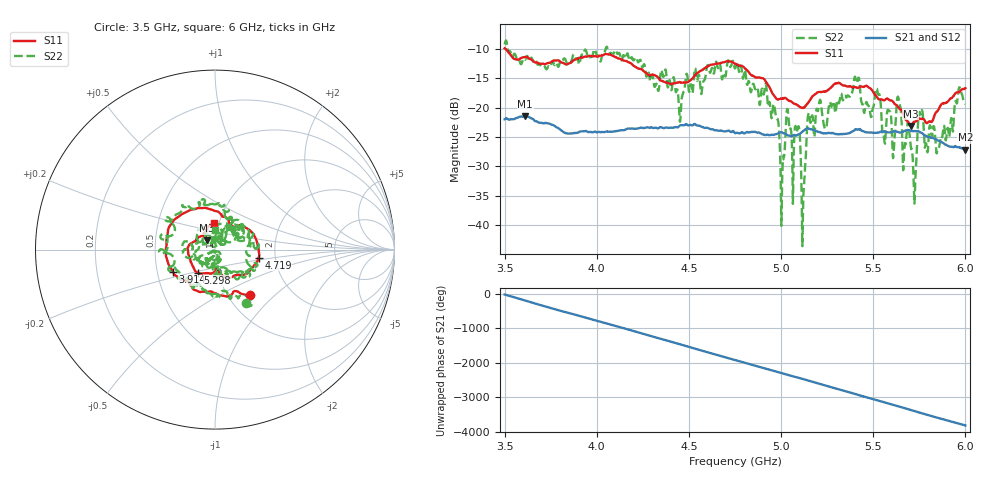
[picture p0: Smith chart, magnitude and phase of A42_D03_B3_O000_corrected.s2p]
! Created with skrf 1.9.0 (http://scikit-rf.org).
# Hz S RI R 50.0
!freq ReS11 ImS11 ReS21 ImS21 ReS12 ImS12 ReS22 ImS22
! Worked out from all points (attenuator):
!   1601 points, 3.5 GHz to 6 GHz, reference 50 ohm
!   highest |S21| = -21.50 dB at 3.611 GHz (marker M1); lowest = -27.1 dB at 6 GHz (marker M2)
!   lowest |S11| = -23.1 dB at 5.703 GHz (marker M3), VSWR 1.15, Z = 45.3 + j4.73 ohm
!   |S11| at or under -10 dB: 3.504 GHz to end of sweep
!   |S22| runs from -43.6 to -8.6 dB; largest |S21 - S12| = 0.001
!   S11 on the Smith chart (normalised r, x): 3.5 GHz: 1.25, -0.71; 3.914 GHz: 0.60, -0.16; 4.719 GHz: 1.63, -0.16; 5.298 GHz: 0.80, -0.22; 6 GHz: 0.95, +0.28
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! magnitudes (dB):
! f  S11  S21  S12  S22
! 3.5 GHz  -9.9  -22.0  -22.0  -9.3
! 3.611 GHz  -11.4  -21.5  -21.5  -11.9
! 3.914 GHz  -11.5  -24.1  -24.0  -11.4
! 3.917 GHz  -11.5  -24.1  -24.0  -11.1
! 4.334 GHz  -15.0  -23.5  -23.5  -17.2
! 4.719 GHz  -12.1  -23.9  -24.0  -12.4
! 4.75 GHz  -12.6  -24.3  -24.3  -13.3
! 4.969 GHz  -18.3  -24.5  -24.5  -20.9
! 5.006 GHz  -18.5  -24.2  -24.2  -31.7
! 5.034 GHz  -18.7  -24.7  -24.6  -20.3
! 5.089 GHz  -19.6  -24.6  -24.6  -23.5
! 5.12 GHz  -20.1  -24.0  -23.9  -35.8
! 5.145 GHz  -19.3  -23.5  -23.5  -21.5
! 5.167 GHz  -18.2  -23.7  -23.7  -21.4
! 5.298 GHz  -15.9  -24.5  -24.5  -20.3
! 5.411 GHz  -16.6  -23.7  -23.7  -15.4
! 5.584 GHz  -18.6  -24.2  -24.2  -20.5
! 5.703 GHz  -23.1  -24.0  -23.9  -26.5
! 5.723 GHz  -22.4  -24.0  -23.9  -36.3
! 5.756 GHz  -21.9  -24.2  -24.2  -21.2
! 5.852 GHz  -20.5  -25.6  -25.5  -27.1
! 6 GHz  -16.7  -27.1  -27.0  -19.3
